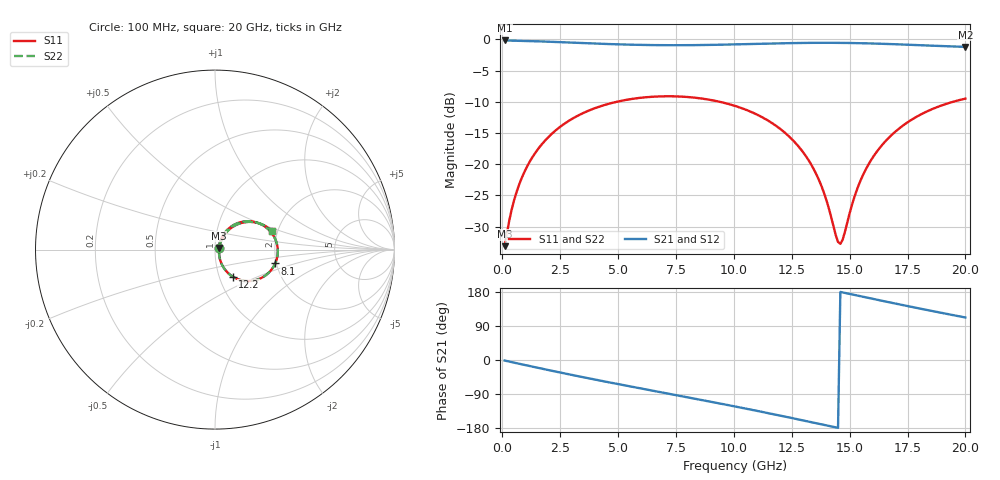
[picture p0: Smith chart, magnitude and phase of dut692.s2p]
! Touchstone file exported from HFSS 2026.1.0
!  File:  C:/ffzhzh/LocalFiles/Ansys_Project_Files/temp_train_TSV_RDL_692_1783135337_35180.aedt
!  Generated:  11:34:59 AM Jul  4, 2026
!  Design:  TSV_RDL
!  Project:  temp_train_TSV_RDL_692_1783135337_35180
! Variables:
!  h_bsmrdl = 5.56um
!  h_ox = 20um
!  h_rdl = 5um
!  h_sub = 96.29um
!  h_tmrdl = 2.68um
!  h_tsv = 96.29um
!  h_via = 3um
!  l_bsmrdl = 955.79um
!  l_sub = 3983.35um
!  l_tmrdl = 154.05um
!  m_sub = 200um
!  pitch = 28.25um
!  r_tsv = 6.82um
!  s_tmrdl = 10um
!  w_bsmrdl = 13.86um
!  w_sub = 500um
!  w_tmrdl = 19.4um
!  x_tsv_center1 = 163.75um
!  x_tsv_center2 = 1133.4um
!  x_tsv_center3 = 1306.85um
!  x_tsv_center4 = 2276.5um
!  x_tsv_center5 = 2449.95um
!  x_tsv_center6 = 3419.6um
# GHz S MA R 50.000000
! Terminal data exported
! Port[1] = TM_RDL1_1_T1
! Port[2] = TM_RDL5_1_T1
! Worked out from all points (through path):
!   200 points, 100 MHz to 20 GHz, reference 50 ohm
!   highest |S21| = -0.17 dB at 100 MHz (marker M1); lowest = -1.2 dB at 20 GHz (marker M2)
!   group delay of S21, straight-line fit = 34.2 ps
!   lowest |S11| = -33.1 dB at 100 MHz (marker M3), VSWR 1.05, Z = 52 + j0.983 ohm
!   |S11| at or under -10 dB: start of sweep to 4.943 GHz; 9.391 GHz to 19.46 GHz (10.07 GHz wide, 69.8 % of centre)
!   |S22| runs from -33.1 to -9.1 dB; largest |S21 - S12| = 6.3e-14
!   S11 on the Smith chart (normalised r, x): 100 MHz: 1.04, +0.02; 8.1 GHz: 1.97, -0.34; 12.2 GHz: 1.16, -0.36; 20 GHz: 1.87, +0.43
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0.1  0.02205 25.4  0.9803 -1.4  0.9803 -1.4  0.02205 25.4
! Gamma 0 0 0 0
! Port Impedance 50 0 50 0
0.4  0.04293 53.9  0.9774 -5.5  0.9774 -5.5  0.04291 53.9
0.6  0.05855 58.7  0.9756 -8.2  0.9756 -8.2  0.05855 58.7
1.2  0.1059 60.0  0.9694 -16.2  0.9694 -16.2  0.1059 60.0
2.2  0.1795 51.7  0.9552 -29.2  0.9552 -29.2  0.1795 51.7
3.5  0.2573 37.5  0.9338 -45.5  0.9338 -45.5  0.2573 37.5
5.1  0.3209 19.7  0.9112 -64.7  0.9112 -64.7  0.3209 19.7
6.8  0.3493 1.2  0.8988 -84.5  0.8988 -84.5  0.3493 1.1
8.1  0.3442 -12.9  0.8988 -99.6  0.8988 -99.6  0.3442 -13.0
10.1  0.2912 -34.7  0.9119 -123.2  0.9119 -123.2  0.2912 -34.8
12.2  0.1791 -56.9  0.9315 -149.3  0.9315 -149.3  0.1791 -57.0
13.4  0.09504 -65.1  0.9381 -164.7  0.9381 -164.7  0.09497 -65.3
13.9  0.05844 -62.2  0.9389 -171.2  0.9389 -171.2  0.05833 -62.5
14.4  0.02708 -33.6  0.9383 -177.8  0.9383 -177.8  0.02682 -34.0
14.6  0.02301 -0.3  0.9376 179.6  0.9376 179.6  0.02269 -0.4
14.7  0.02483 17.0  0.9372 178.3  0.9372 178.3  0.02453 17.2
15.2  0.05418 53.3  0.9343 171.8  0.9343 171.8  0.05403 53.5
15.5  0.07612 57.0  0.9319 167.9  0.9319 167.9  0.076 57.2
16  0.1133 56.7  0.9269 161.4  0.9269 161.4  0.1132 56.8
16.7  0.1636 51.7  0.9182 152.4  0.9182 152.4  0.1635 51.8
18.1  0.2518 37.9  0.8973 134.9  0.8973 134.9  0.2517 37.9
20  0.335 17.6  0.8706 112.2  0.8706 112.2  0.335 17.6
